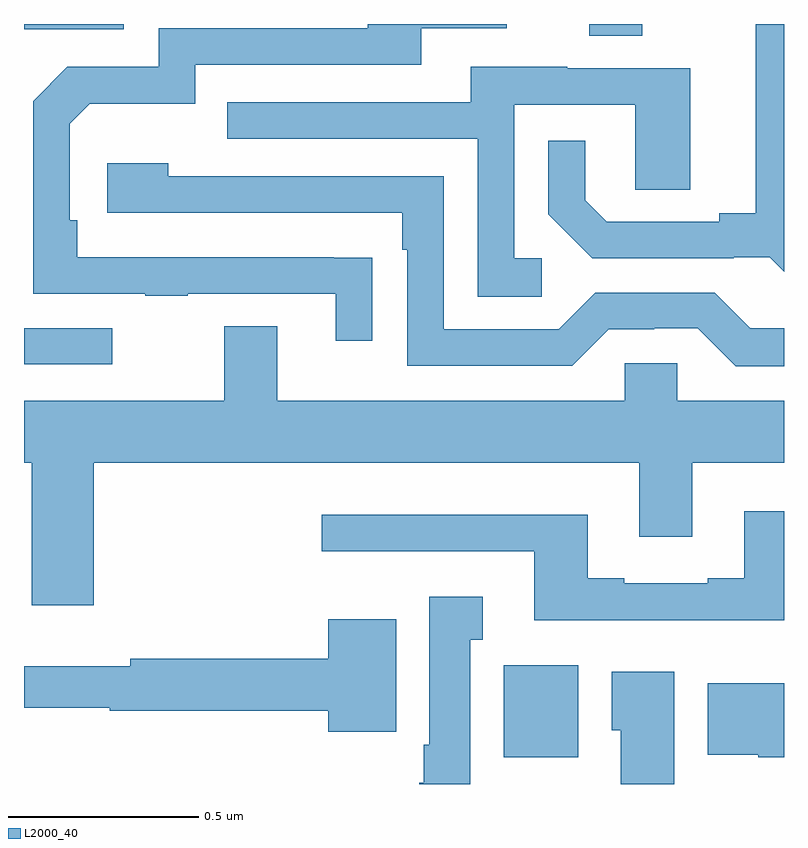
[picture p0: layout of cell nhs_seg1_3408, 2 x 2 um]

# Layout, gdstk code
import gdstk
lib = gdstk.Library(unit=1e-6, precision=1e-09)
def R(c, l, rs):  # rectangles x0, y0, x1, y1
    for r in rs: c.add(gdstk.rectangle(r[:2], r[2:], *l))
def P(c, l, *ps):  # polygons
    for p in ps: c.add(gdstk.Polygon(p, *l))
L2000_40 = (2000, 40)

nhs_seg1_3408 = lib.new_cell('nhs_seg1_3408')
R(nhs_seg1_3408, L2000_40, [(154.262,572.27,154.459,572.512), (153,573.303,153.232,573.399), (154.487,574.168,154.627,574.199), (153,574.185,153.262,574.199)])
P(nhs_seg1_3408, L2000_40, [(153.917,573.584),(153.815,573.584),(153.815,573.585),(153.14,573.585),(153.14,573.682),(153.12,573.682),(153.12,573.936),(153.173,573.989),(153.45,573.989),(153.45,574.092),(154.045,574.092),(154.045,574.188),(154.27,574.188),(154.27,574.199),(153.905,574.199),(153.905,574.188),(153.354,574.188),(153.354,574.086),(153.114,574.086),(153.024,573.996),(153.024,573.489),(153.319,573.489),(153.319,573.484),(153.431,573.484),(153.431,573.489),(153.821,573.489),(153.821,573.366),(153.917,573.366)],
  [(155,574.199),(154.925,574.199),(154.925,573.701),(154.829,573.701),(154.829,573.678),(154.534,573.678),(154.477,573.735),(154.477,573.892),(154.38,573.892),(154.38,573.698),(154.496,573.582),(154.868,573.582),(154.868,573.585),(154.962,573.585),(155,573.547)],
  [(154.363,573.582),(154.29,573.582),(154.29,573.987),(154.608,573.987),(154.608,573.763),(154.753,573.763),(154.753,574.083),(154.429,574.083),(154.429,574.087),(154.175,574.087),(154.175,573.993),(153.535,573.993),(153.535,573.897),(154.194,573.897),(154.194,573.481),(154.363,573.481)],
  [(155,573.399),(154.911,573.399),(154.818,573.492),(154.503,573.492),(154.407,573.396),(154.104,573.396),(154.104,573.798),(153.38,573.798),(153.38,573.832),(153.219,573.832),(153.219,573.702),(153.995,573.702),(153.995,573.605),(154.008,573.605),(154.008,573.3),(154.443,573.3),(154.539,573.396),(154.658,573.396),(154.658,573.399),(154.773,573.399),(154.873,573.299),(155,573.299)],
  [(153.184,573.044),(154.619,573.044),(154.619,572.85),(154.759,572.85),(154.759,573.044),(155,573.044),(155,573.208),(154.719,573.208),(154.719,573.306),(154.581,573.306),(154.581,573.208),(153.667,573.208),(153.667,573.403),(153.527,573.403),(153.527,573.208),(153,573.208),(153,573.044),(153.02,573.044),(153.02,572.67),(153.184,572.67)],
  [(155,572.917),(154.895,572.917),(154.895,572.74),(154.799,572.74),(154.799,572.727),(154.579,572.727),(154.579,572.74),(154.483,572.74),(154.483,572.908),(153.783,572.908),(153.783,572.811),(154.343,572.811),(154.343,572.63),(155,572.63)],
  [(154.174,572.579),(154.207,572.579),(154.207,572.692),(154.067,572.692),(154.067,572.302),(154.052,572.302),(154.052,572.202),(154.04,572.202),(154.04,572.199),(154.174,572.199)],
  [(153.979,572.632),(153.8,572.632),(153.8,572.528),(153.28,572.528),(153.28,572.509),(153,572.509),(153,572.4),(153.226,572.4),(153.226,572.392),(153.8,572.392),(153.8,572.336),(153.979,572.336)],
  [(154.711,572.494),(154.547,572.494),(154.547,572.34),(154.571,572.34),(154.571,572.199),(154.711,572.199)],
  [(155,572.464),(154.799,572.464),(154.799,572.276),(154.932,572.276),(154.932,572.27),(155,572.27)])

lib.write_gds('nhs_seg1_3408.gds')
